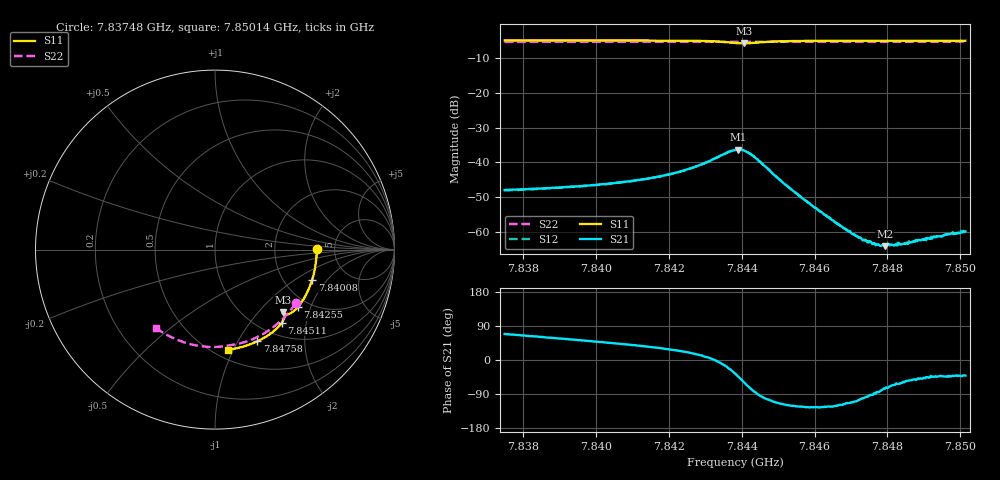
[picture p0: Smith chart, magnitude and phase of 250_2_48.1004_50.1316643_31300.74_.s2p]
#  HZ  S  RI  R  50.00
! Rohde & Schwarz Vector Network Analyzer
! Rohde-Schwarz,ZNB20-2Port,1311601062101988,3.16
! Created: UTC 12/23/2023, 3:59:40 AM
! freq[Hz]  re:S11  im:S11  re:S21  im:S21  re:S12  im:S12  re:S22  im:S22
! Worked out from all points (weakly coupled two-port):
!   401 points, 7.83748 GHz to 7.85014 GHz, reference 50 ohm
!   highest |S21| = -36.32 dB at 7.84391 GHz (marker M1); lowest = -64.1 dB at 7.84793 GHz (marker M2)
!   lowest |S11| = -5.8 dB at 7.84407 GHz (marker M3), VSWR 3.12, Z = 72.1 - j68.5 ohm
!   |S11| at or under -10 dB: nowhere
!   |S22| runs from -5.4 to -5.3 dB; largest |S21 - S12| = 0.00028
!   S11 on the Smith chart (normalised r, x): 7.83748 GHz: 3.61, +0.04; 7.84008 GHz: 2.85, -1.40; 7.84255 GHz: 1.75, -1.63; 7.84511 GHz: 1.24, -1.46; 7.84758 GHz: 0.81, -1.21; 7.85014 GHz: 0.58, -0.95
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7.837483e9  0.5663 0.00398  0.00145 0.00372  0.00147 0.00366  0.4497 -0.2986
7.839604e9  0.5503 -0.1362  0.00284 0.00359  0.0028 0.00353  0.3519 -0.4102
7.840079e9  0.5418 -0.167  0.00322 0.00352  0.00321 0.00352  0.3261 -0.4312
7.841724e9  0.4966 -0.2705  0.0053 0.0033  0.00531 0.00326  0.2276 -0.4912
7.842547e9  0.4622 -0.3195  0.00758 0.00271  0.00754 0.00274  0.1739 -0.5128
7.843338e9  0.4133 -0.3583  0.0118 -0.000855  0.0119 -0.000733  0.1201 -0.5271
7.843813e9  0.3794 -0.3578  0.0121 -0.00871  0.0123 -0.00866  0.0884 -0.5318
7.843908e9  0.3766 -0.3544  0.011 -0.0106  0.0109 -0.0106  0.0823 -0.5326
7.844066e9  0.3771 -0.3498  0.00753 -0.0127  0.00754 -0.0125  0.0725 -0.5341
7.844351e9  0.3856 -0.3556  0.00126 -0.0119  0.00132 -0.0119  0.054 -0.5375
7.845111e9  0.3729 -0.4069  -0.0023 -0.00468  -0.00232 -0.00472  0.000973 -0.5427
7.845934e9  0.3321 -0.4505  -0.00137 -0.00197  -0.00131 -0.00194  -0.0572 -0.5407
7.847073e9  0.2669 -0.4949  -0.000332 -0.000866  -0.000333 -0.00086  -0.1362 -0.5271
7.84739e9  0.2479 -0.505  -0.00011 -0.00074  -0.000129 -0.000763  -0.1575 -0.5214
7.847579e9  0.2366 -0.5108  -2.72e-05 -0.000677  -2.85e-05 -0.000663  -0.1701 -0.5175
7.847738e9  0.2267 -0.5152  5.79e-05 -0.000659  7.79e-05 -0.000647  -0.1807 -0.514
7.847928e9  0.215 -0.5203  0.000152 -0.000605  0.000138 -0.000623  -0.1933 -0.5096
7.848054e9  0.2071 -0.5234  0.000219 -0.000603  0.000217 -0.000632  -0.2015 -0.5063
7.848434e9  0.1833 -0.5323  0.00036 -0.000569  0.000353 -0.000577  -0.2261 -0.496
7.84932e9  0.1263 -0.5485  0.00062 -0.000573  0.0006 -0.000606  -0.2814 -0.4674
7.850016e9  0.0808 -0.5567  0.00073 -0.000661  0.000771 -0.000689  -0.3222 -0.4408
7.850143e9  0.0723 -0.5578  0.000768 -0.000669  0.000753 -0.000641  -0.3294 -0.4356
